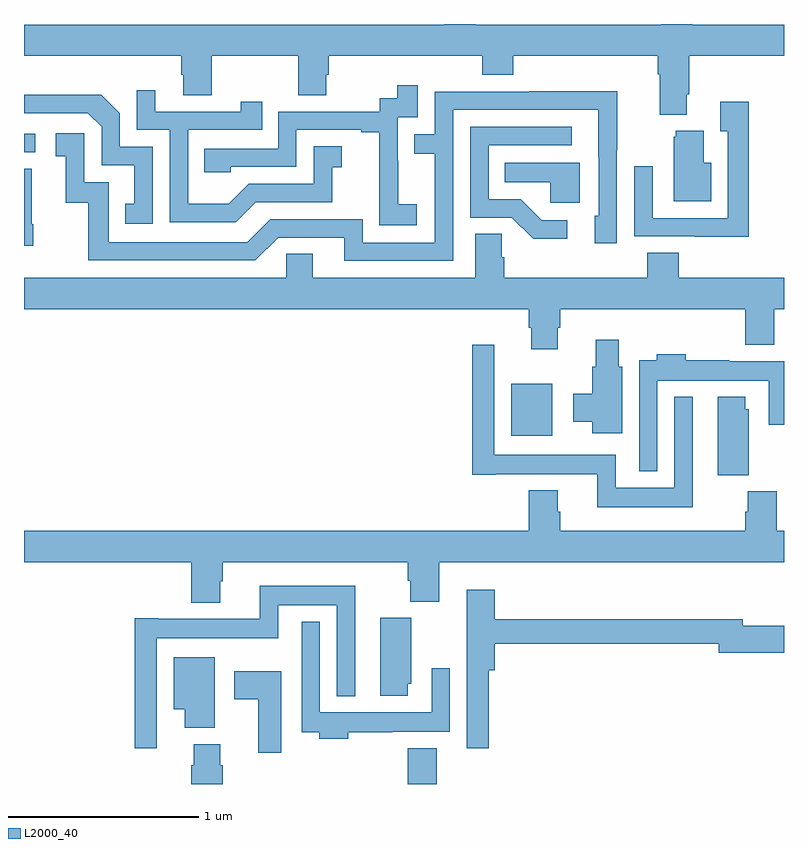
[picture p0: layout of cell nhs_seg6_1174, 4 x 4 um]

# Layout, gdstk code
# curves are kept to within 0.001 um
import gdstk
lib = gdstk.Library(unit=1e-6, precision=1e-09)
def R(c, l, rs):  # rectangles x0, y0, x1, y1
    for r in rs: c.add(gdstk.rectangle(r[:2], r[2:], *l))
def P(c, l, *ps):  # polygons
    for p in ps: c.add(gdstk.Polygon(p, *l))
L2000_40 = (2000, 40)

nhs_seg6_1174 = lib.new_cell('nhs_seg6_1174')
R(nhs_seg6_1174, L2000_40, [(185.021,947.5,185.173,947.689), (185.564,949.334,185.779,949.606), (183,950.826,183.058,950.922)])
P(nhs_seg6_1174, L2000_40, [(183,951.332),(183.827,951.332),(183.827,951.234),(183.839,951.234),(183.839,951.124),(183.987,951.124),(183.987,951.332),(184.444,951.332),(184.444,951.124),(184.591,951.124),(184.591,951.234),(184.604,951.234),(184.604,951.332),(185.411,951.332),(185.411,951.233),(185.576,951.233),(185.576,951.332),(186.335,951.332),(186.335,951.236),(186.347,951.236),(186.347,951.023),(186.487,951.023),(186.487,951.13),(186.5,951.13),(186.5,951.332),(187,951.332),(187,951.496),(186.518,951.496),(186.518,951.5),(186.353,951.5),(186.353,951.496),(185.378,951.496),(185.378,951.5),(185.213,951.5),(185.213,951.496),(183,951.496)],
  [(185.068,950.551),(184.97,950.551),(184.97,950.78),(184.968,950.78),(184.968,951.009),(185.073,951.009),(185.073,951.178),(184.965,951.178),(184.965,951.108),(184.872,951.108),(184.872,951.039),(184.338,951.039),(184.338,950.844),(183.949,950.844),(183.949,950.721),(184.089,950.721),(184.089,950.748),(184.434,950.748),(184.434,950.943),(184.775,950.943),(184.775,950.931),(184.871,950.931),(184.871,950.647),(184.87,950.647),(184.87,950.441),(185.068,950.441)],
  [(184.219,950.562),(184.623,950.562),(184.623,950.747),(184.672,950.747),(184.672,950.857),(184.524,950.857),(184.524,950.658),(184.182,950.658),(184.078,950.554),(183.864,950.554),(183.864,950.943),(184.253,950.943),(184.253,951.091),(184.142,951.091),(184.142,951.039),(183.691,951.039),(183.691,951.151),(183.594,951.151),(183.594,950.943),(183.768,950.943),(183.768,950.457),(184.114,950.457)],
  [(185.259,951.048),(186.023,951.048),(186.024,950.49),(186.005,950.49),(186.005,950.346),(186.12,950.346),(186.12,950.839),(186.123,950.839),(186.123,951.146),(185.659,951.146),(185.659,951.144),(185.163,951.144),(185.163,950.919),(185.053,950.919),(185.053,950.818),(185.163,950.818),(185.163,950.349),(184.782,950.349),(184.782,950.472),(184.296,950.472),(184.176,950.352),(183.447,950.352),(183.447,950.667),(183.318,950.667),(183.318,950.926),(183.168,950.926),(183.168,950.805),(183.221,950.805),(183.221,950.559),(183.339,950.559),(183.339,950.256),(184.218,950.256),(184.338,950.376),(184.685,950.376),(184.685,950.253),(185.259,950.253)],
  [(183.678,950.853),(183.504,950.853),(183.504,951.03),(183.406,951.128),(183,951.128),(183,951.03),(183.336,951.03),(183.408,950.958),(183.408,950.757),(183.581,950.757),(183.581,950.553),(183.532,950.553),(183.532,950.448),(183.678,950.448)],
  [(186.814,951.091),(186.665,951.091),(186.665,950.935),(186.705,950.935),(186.705,950.478),(186.309,950.478),(186.309,950.752),(186.213,950.752),(186.213,950.382),(186.529,950.382),(186.529,950.381),(186.814,950.381)],
  [(185.86,950.466),(185.725,950.466),(185.614,950.577),(185.445,950.577),(185.445,950.862),(185.884,950.862),(185.884,950.958),(185.349,950.958),(185.349,950.481),(185.568,950.481),(185.681,950.369),(185.86,950.369)],
  [(186.616,950.77),(186.577,950.77),(186.577,950.938),(186.431,950.938),(186.431,950.907),(186.419,950.907),(186.419,950.567),(186.616,950.567)],
  [(185.926,950.77),(185.53,950.77),(185.53,950.666),(185.769,950.666),(185.769,950.558),(185.926,950.558)],
  [(183.048,950.446),(183.04,950.446),(183.04,950.737),(183,950.737),(183,950.334),(183.048,950.334)],
  [(185.809,949.902),(185.822,949.902),(185.822,950),(186.797,950),(186.797,949.811),(186.949,949.811),(186.949,950),(187,950),(187,950.164),(186.446,950.164),(186.446,950.297),(186.281,950.297),(186.281,950.164),(185.528,950.164),(185.528,950.273),(185.514,950.273),(185.514,950.396),(185.375,950.396),(185.375,950.164),(184.519,950.164),(184.519,950.291),(184.38,950.291),(184.38,950.164),(183,950.164),(183,950),(185.657,950),(185.657,949.902),(185.669,949.902),(185.669,949.788),(185.809,949.788)],
  [(186.148,949.695),(186.13,949.695),(186.13,949.837),(186.008,949.837),(186.008,949.695),(185.99,949.695),(185.99,949.554),(185.891,949.554),(185.891,949.406),(185.99,949.406),(185.99,949.347),(186.148,949.347)],
  [(186.52,949.537),(186.423,949.537),(186.423,949.06),(186.114,949.06),(186.114,949.234),(185.475,949.234),(185.475,949.813),(185.359,949.813),(185.359,949.128),(185.482,949.128),(185.482,949.13),(186.017,949.13),(186.017,948.956),(186.52,948.956)],
  [(186.333,949.622),(186.921,949.622),(186.921,949.392),(187,949.392),(187,949.726),(186.713,949.726),(186.713,949.729),(186.482,949.729),(186.482,949.762),(186.329,949.762),(186.329,949.729),(186.237,949.729),(186.237,949.145),(186.333,949.145)],
  [(186.814,949.473),(186.796,949.473),(186.796,949.537),(186.65,949.537),(186.65,949.126),(186.814,949.126)],
  [(184.033,948.567),(184.046,948.567),(184.046,948.668),(185.021,948.668),(185.021,948.569),(185.033,948.569),(185.033,948.46),(185.186,948.46),(185.186,948.668),(187,948.668),(187,948.832),(186.962,948.832),(186.962,949.041),(186.809,949.041),(186.809,948.932),(186.797,948.932),(186.797,948.832),(185.822,948.832),(185.822,948.933),(185.809,948.933),(185.809,949.045),(185.657,949.045),(185.657,948.832),(183,948.832),(183,948.668),(183.881,948.668),(183.881,948.455),(184.033,948.455)],
  [(183.699,948.266),(184.338,948.266),(184.338,948.44),(184.647,948.44),(184.647,947.963),(184.744,947.963),(184.744,948.544),(184.241,948.544),(184.241,948.37),(183.706,948.37),(183.706,948.373),(183.583,948.373),(183.583,947.688),(183.699,947.688)],
  [(185.447,948.098),(185.477,948.098),(185.477,948.238),(186.656,948.238),(186.656,948.191),(187,948.191),(187,948.333),(186.784,948.333),(186.784,948.367),(185.477,948.367),(185.477,948.523),(185.33,948.523),(185.33,948.261),(185.331,948.261),(185.331,947.688),(185.447,947.688)],
  [(185.02,948.027),(185.038,948.027),(185.038,948.375),(184.874,948.375),(184.874,947.964),(185.02,947.964)],
  [(184.706,947.772),(184.937,947.772),(184.937,947.774),(185.241,947.774),(185.241,948.109),(185.145,948.109),(185.145,947.878),(184.557,947.878),(184.557,948.355),(184.461,948.355),(184.461,947.772),(184.553,947.772),(184.553,947.738),(184.706,947.738)],
  [(184.003,948.166),(183.788,948.166),(183.788,947.894),(183.845,947.894),(183.845,947.795),(184.003,947.795)],
  [(184.354,948.094),(184.107,948.094),(184.107,947.947),(184.232,947.947),(184.232,947.664),(184.354,947.664)],
  [(184.033,947.598),(184.033,947.71),(183.893,947.71),(183.893,947.598),(183.881,947.598),(183.881,947.5),(184.046,947.5),(184.046,947.598)])

lib.write_gds('nhs_seg6_1174.gds')
